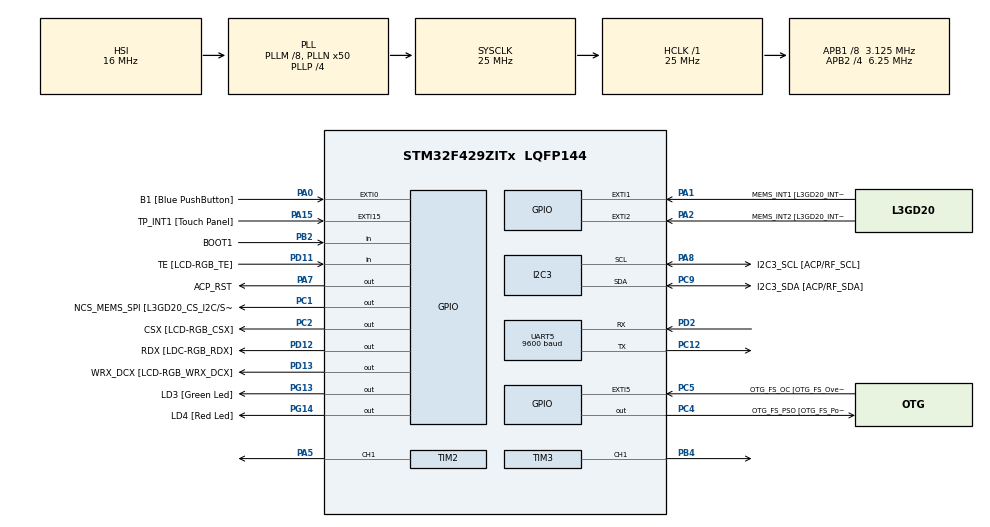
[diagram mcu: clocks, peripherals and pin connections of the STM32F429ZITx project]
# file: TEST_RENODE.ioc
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Mcu.Family=STM32F4
Mcu.Name=STM32F429ZITx
Mcu.Package=LQFP144
NVIC.PriorityGroup=NVIC_PRIORITYGROUP_0
NVIC.TIM6_DAC_IRQn=true\:0\:0\:false\:false\:true\:true
NVIC.UART5_IRQn=true\:0\:0\:false\:false\:true\:true
PA0/WKUP.GPIO_Label=B1 [Blue PushButton]
PA0/WKUP.GPIO_ModeDefaultEXTI=GPIO_MODE_EVT_RISING
PA0/WKUP.GPIO_PuPd=GPIO_NOPULL
PA0/WKUP.Signal=GPXTI0
PA1.GPIO_Label=MEMS_INT1 [L3GD20_INT1]
PA1.GPIO_ModeDefaultEXTI=GPIO_MODE_EVT_RISING
PA1.GPIO_PuPd=GPIO_NOPULL
PA1.Signal=GPXTI1
PA10.GPIO_Label=STLINK_TX [STM32F103CBT6_PA2]
PA10.Signal=USART1_RX
PA11.GPIO_Label=R4
PA11.GPIO_Mode=GPIO_MODE_AF_PP
PA11.GPIO_PuPd=GPIO_NOPULL
PA11.GPIO_Speed=GPIO_SPEED_FREQ_LOW
PA11.Signal=LTDC_R4
PA12.GPIO_Label=R5
PA12.GPIO_Mode=GPIO_MODE_AF_PP
PA12.GPIO_PuPd=GPIO_NOPULL
PA12.GPIO_Speed=GPIO_SPEED_FREQ_LOW
PA12.Signal=LTDC_R5
PA13.GPIO_Label=SWDIO
PA13.Signal=SYS_JTMS-SWDIO
PA14.GPIO_Label=SWCLK
PA14.Signal=SYS_JTCK-SWCLK
PA15.GPIO_Label=TP_INT1 [Touch Panel]
PA15.GPIO_ModeDefaultEXTI=GPIO_MODE_EVT_RISING
PA15.GPIO_PuPd=GPIO_NOPULL
PA15.Signal=GPXTI15
PA2.GPIO_Label=MEMS_INT2 [L3GD20_INT2]
PA2.GPIO_ModeDefaultEXTI=GPIO_MODE_EVT_RISING
PA2.GPIO_PuPd=GPIO_NOPULL
PA2.Signal=GPXTI2
PA3.GPIO_Label=B5
PA3.GPIO_Mode=GPIO_MODE_AF_PP
PA3.GPIO_PuPd=GPIO_NOPULL
PA3.GPIO_Speed=GPIO_SPEED_FREQ_LOW
PA3.Signal=LTDC_B5
PA4.GPIO_Label=VSYNC
PA4.GPIO_Mode=GPIO_MODE_AF_PP
PA4.GPIO_PuPd=GPIO_NOPULL
PA4.GPIO_Speed=GPIO_SPEED_FREQ_LOW
PA4.Signal=LTDC_VSYNC
PA5.Signal=S_TIM2_CH1_ETR
PA6.GPIO_Label=G2
PA6.GPIO_Mode=GPIO_MODE_AF_PP
PA6.GPIO_PuPd=GPIO_NOPULL
PA6.GPIO_Speed=GPIO_SPEED_FREQ_LOW
PA6.Signal=LTDC_G2
PA7.GPIO_Label=ACP_RST
PA7.GPIO_Mode=GPIO_MODE_OUTPUT_PP
PA7.GPIO_PuPd=GPIO_NOPULL
PA7.GPIO_Speed=GPIO_SPEED_FREQ_LOW
PA7.Signal=GPIO_Output
PA8.GPIO_Label=I2C3_SCL [ACP/RF_SCL]
PA8.GPIO_Mode=GPIO_MODE_AF_OD
PA8.GPIO_PuPd=GPIO_NOPULL
PA8.GPIO_Speed=GPIO_SPEED_FREQ_LOW
PA8.Mode=I2C
PA8.Signal=I2C3_SCL
PA9.GPIO_Label=STLINK_RX [STM32F103CBT6_PA3]
PA9.Signal=USART1_TX
PB0.GPIO_Label=R3
PB0.GPIO_Mode=GPIO_MODE_AF_PP
PB0.GPIO_PuPd=GPIO_NOPULL
PB0.GPIO_Speed=GPIO_SPEED_FREQ_LOW
PB0.Signal=LTDC_R3
PB1.GPIO_Label=R6
PB1.GPIO_Mode=GPIO_MODE_AF_PP
PB1.GPIO_PuPd=GPIO_NOPULL
PB1.GPIO_Speed=GPIO_SPEED_FREQ_LOW
PB1.Signal=LTDC_R6
PB10.GPIO_Label=G4
PB10.GPIO_Mode=GPIO_MODE_AF_PP
PB10.GPIO_PuPd=GPIO_NOPULL
PB10.GPIO_Speed=GPIO_SPEED_FREQ_LOW
PB10.Signal=LTDC_G4
PB11.GPIO_Label=G5
PB11.GPIO_Mode=GPIO_MODE_AF_PP
PB11.GPIO_PuPd=GPIO_NOPULL
PB11.GPIO_Speed=GPIO_SPEED_FREQ_LOW
PB11.Signal=LTDC_G5
PB12.GPIO_Label=OTG_HS_ID
PB12.GPIO_Mode=GPIO_MODE_AF_PP
PB12.GPIO_PuPd=GPIO_NOPULL
PB12.GPIO_Speed=GPIO_SPEED_FREQ_LOW
PB12.Signal=USB_OTG_HS_ID
PB13.GPIO_Label=VBUS_HS
PB13.GPIO_Mode=GPIO_MODE_INPUT
PB13.GPIO_PuPd=GPIO_NOPULL
PB13.Signal=USB_OTG_HS_VBUS
PB14.GPIO_Label=OTG_HS_DM
PB14.GPIO_Mode=GPIO_MODE_AF_PP
PB14.GPIO_PuPd=GPIO_NOPULL
PB14.GPIO_Speed=GPIO_SPEED_FREQ_LOW
PB14.Signal=USB_OTG_HS_DM
PB15.GPIO_Label=OTG_HS_DP
PB15.GPIO_Mode=GPIO_MODE_AF_PP
PB15.GPIO_PuPd=GPIO_NOPULL
PB15.GPIO_Speed=GPIO_SPEED_FREQ_LOW
PB15.Signal=USB_OTG_HS_DP
PB2/BOOT1.GPIO_Label=BOOT1
PB2/BOOT1.GPIO_Mode=GPIO_MODE_INPUT
PB2/BOOT1.GPIO_PuPd=GPIO_NOPULL
PB2/BOOT1.Signal=GPIO_Input
PB4.Signal=S_TIM3_CH1
PB5.GPIO_Label=SDCKE1
PB5.GPIO_Mode=GPIO_MODE_AF_PP
PB5.GPIO_PuPd=GPIO_NOPULL
PB5.GPIO_Speed=GPIO_SPEED_FREQ_VERY_HIGH
PB5.Signal=FMC_SDCKE1
PB6.GPIO_Label=SDNE1 [SDRAM_CS]
PB6.GPIO_Mode=GPIO_MODE_AF_PP
PB6.GPIO_PuPd=GPIO_NOPULL
PB6.GPIO_Speed=GPIO_SPEED_FREQ_VERY_HIGH
PB6.Signal=FMC_SDNE1
PB8.GPIO_Label=B6
PB8.GPIO_Mode=GPIO_MODE_AF_PP
PB8.GPIO_PuPd=GPIO_NOPULL
PB8.GPIO_Speed=GPIO_SPEED_FREQ_LOW
PB8.Signal=LTDC_B6
PB9.GPIO_Label=B7
PB9.GPIO_Mode=GPIO_MODE_AF_PP
PB9.GPIO_PuPd=GPIO_NOPULL
PB9.GPIO_Speed=GPIO_SPEED_FREQ_LOW
PB9.Signal=LTDC_B7
PC0.GPIO_Label=SDNWE
PC0.GPIO_Mode=GPIO_MODE_AF_PP
PC0.GPIO_PuPd=GPIO_NOPULL
PC0.GPIO_Speed=GPIO_SPEED_FREQ_VERY_HIGH
PC0.Signal=FMC_SDNWE
PC1.GPIO_Label=NCS_MEMS_SPI [L3GD20_CS_I2C/SPI]
PC1.GPIO_Mode=GPIO_MODE_OUTPUT_PP
PC1.GPIO_PuPd=GPIO_NOPULL
PC1.GPIO_Speed=GPIO_SPEED_FREQ_LOW
PC1.Signal=GPIO_Output
PC10.GPIO_Label=R2
PC10.GPIO_Mode=GPIO_MODE_AF_PP
PC10.GPIO_PuPd=GPIO_NOPULL
PC10.GPIO_Speed=GPIO_SPEED_FREQ_LOW
PC10.Signal=LTDC_R2
PC12.Mode=Asynchronous
PC12.Signal=UART5_TX
PC14/OSC32_IN.GPIO_Label=PC14-OSC32_IN
PC14/OSC32_IN.Signal=RCC_OSC32_IN
PC15/OSC32_OUT.GPIO_Label=PC15-OSC32_OUT
PC15/OSC32_OUT.Signal=RCC_OSC32_OUT
PC2.GPIO_Label=CSX [LCD-RGB_CSX]
PC2.GPIO_Mode=GPIO_MODE_OUTPUT_PP
PC2.GPIO_PuPd=GPIO_NOPULL
PC2.GPIO_Speed=GPIO_SPEED_FREQ_LOW
PC2.Signal=GPIO_Output
PC4.GPIO_Label=OTG_FS_PSO [OTG_FS_PowerSwitchOn]
PC4.GPIO_Mode=GPIO_MODE_OUTPUT_PP
PC4.GPIO_PuPd=GPIO_NOPULL
PC4.GPIO_Speed=GPIO_SPEED_FREQ_LOW
PC4.Signal=GPIO_Output
PC5.GPIO_Label=OTG_FS_OC [OTG_FS_OverCurrent]
PC5.GPIO_ModeDefaultEXTI=GPIO_MODE_EVT_RISING
PC5.Signal=GPXTI5
PC6.GPIO_Label=HSYNC
PC6.GPIO_Mode=GPIO_MODE_AF_PP
PC6.GPIO_PuPd=GPIO_NOPULL
PC6.GPIO_Speed=GPIO_SPEED_FREQ_LOW
PC6.Signal=LTDC_HSYNC
PC7.GPIO_Label=G6
PC7.GPIO_Mode=GPIO_MODE_AF_PP
PC7.GPIO_PuPd=GPIO_NOPULL
PC7.GPIO_Speed=GPIO_SPEED_FREQ_LOW
PC7.Signal=LTDC_G6
PC9.GPIO_Label=I2C3_SDA [ACP/RF_SDA]
PC9.GPIO_Mode=GPIO_MODE_AF_OD
PC9.GPIO_PuPd=GPIO_NOPULL
PC9.GPIO_Speed=GPIO_SPEED_FREQ_LOW
PC9.Mode=I2C
PC9.Signal=I2C3_SDA
PD0.GPIO_Label=D2
PD0.GPIO_Mode=GPIO_MODE_AF_PP
PD0.GPIO_PuPd=GPIO_NOPULL
PD0.GPIO_Speed=GPIO_SPEED_FREQ_VERY_HIGH
PD0.Signal=FMC_D2_DA2
PD1.GPIO_Label=D3
PD1.GPIO_Mode=GPIO_MODE_AF_PP
PD1.GPIO_PuPd=GPIO_NOPULL
PD1.GPIO_Speed=GPIO_SPEED_FREQ_VERY_HIGH
PD1.Signal=FMC_D3_DA3
PD10.GPIO_Label=D15
PD10.GPIO_Mode=GPIO_MODE_AF_PP
PD10.GPIO_PuPd=GPIO_NOPULL
PD10.GPIO_Speed=GPIO_SPEED_FREQ_VERY_HIGH
PD10.Signal=FMC_D15_DA15
PD11.GPIO_Label=TE [LCD-RGB_TE]
PD11.GPIO_Mode=GPIO_MODE_INPUT
PD11.GPIO_PuPd=GPIO_NOPULL
PD11.Signal=GPIO_Input
PD12.GPIO_Label=RDX [LDC-RGB_RDX]
PD12.GPIO_Mode=GPIO_MODE_OUTPUT_PP
PD12.GPIO_PuPd=GPIO_NOPULL
PD12.GPIO_Speed=GPIO_SPEED_FREQ_LOW
PD12.Signal=GPIO_Output
PD13.GPIO_Label=WRX_DCX [LCD-RGB_WRX_DCX]
PD13.GPIO_Mode=GPIO_MODE_OUTPUT_PP
PD13.GPIO_PuPd=GPIO_NOPULL
PD13.GPIO_Speed=GPIO_SPEED_FREQ_LOW
PD13.Signal=GPIO_Output
PD14.GPIO_Label=D0
PD14.GPIO_Mode=GPIO_MODE_AF_PP
PD14.GPIO_PuPd=GPIO_NOPULL
PD14.GPIO_Speed=GPIO_SPEED_FREQ_VERY_HIGH
PD14.Signal=FMC_D0_DA0
PD15.GPIO_Label=D1
PD15.GPIO_Mode=GPIO_MODE_AF_PP
PD15.GPIO_PuPd=GPIO_NOPULL
PD15.GPIO_Speed=GPIO_SPEED_FREQ_VERY_HIGH
PD15.Signal=FMC_D1_DA1
PD2.Mode=Asynchronous
PD2.Signal=UART5_RX
PD3.GPIO_Label=G7
PD3.GPIO_Mode=GPIO_MODE_AF_PP
PD3.GPIO_PuPd=GPIO_NOPULL
PD3.GPIO_Speed=GPIO_SPEED_FREQ_LOW
PD3.Signal=LTDC_G7
PD6.GPIO_Label=B2
PD6.GPIO_Mode=GPIO_MODE_AF_PP
PD6.GPIO_PuPd=GPIO_NOPULL
PD6.GPIO_Speed=GPIO_SPEED_FREQ_LOW
PD6.Signal=LTDC_B2
PD8.GPIO_Label=D13
PD8.GPIO_Mode=GPIO_MODE_AF_PP
PD8.GPIO_PuPd=GPIO_NOPULL
PD8.GPIO_Speed=GPIO_SPEED_FREQ_VERY_HIGH
PD8.Signal=FMC_D13_DA13
PD9.GPIO_Label=D14
PD9.GPIO_Mode=GPIO_MODE_AF_PP
PD9.GPIO_PuPd=GPIO_NOPULL
PD9.GPIO_Speed=GPIO_SPEED_FREQ_VERY_HIGH
PD9.Signal=FMC_D14_DA14
PE0.GPIO_Label=NBL0 [SDRAM_LDQM]
PE0.GPIO_Mode=GPIO_MODE_AF_PP
PE0.GPIO_PuPd=GPIO_NOPULL
PE0.GPIO_Speed=GPIO_SPEED_FREQ_VERY_HIGH
PE0.Signal=FMC_NBL0
PE1.GPIO_Label=NBL1 [SDRAM_UDQM]
PE1.GPIO_Mode=GPIO_MODE_AF_PP
PE1.GPIO_PuPd=GPIO_NOPULL
PE1.GPIO_Speed=GPIO_SPEED_FREQ_VERY_HIGH
PE1.Signal=FMC_NBL1
PE10.GPIO_Label=D7
PE10.GPIO_Mode=GPIO_MODE_AF_PP
PE10.GPIO_PuPd=GPIO_NOPULL
PE10.GPIO_Speed=GPIO_SPEED_FREQ_VERY_HIGH
PE10.Signal=FMC_D7_DA7
PE11.GPIO_Label=D8
PE11.GPIO_Mode=GPIO_MODE_AF_PP
PE11.GPIO_PuPd=GPIO_NOPULL
PE11.GPIO_Speed=GPIO_SPEED_FREQ_VERY_HIGH
PE11.Signal=FMC_D8_DA8
PE12.GPIO_Label=D9
PE12.GPIO_Mode=GPIO_MODE_AF_PP
PE12.GPIO_PuPd=GPIO_NOPULL
PE12.GPIO_Speed=GPIO_SPEED_FREQ_VERY_HIGH
PE12.Signal=FMC_D9_DA9
PE13.GPIO_Label=D10
PE13.GPIO_Mode=GPIO_MODE_AF_PP
PE13.GPIO_PuPd=GPIO_NOPULL
PE13.GPIO_Speed=GPIO_SPEED_FREQ_VERY_HIGH
PE13.Signal=FMC_D10_DA10
PE14.GPIO_Label=D11
PE14.GPIO_Mode=GPIO_MODE_AF_PP
PE14.GPIO_PuPd=GPIO_NOPULL
PE14.GPIO_Speed=GPIO_SPEED_FREQ_VERY_HIGH
PE14.Signal=FMC_D11_DA11
PE15.GPIO_Label=D12
PE15.GPIO_Mode=GPIO_MODE_AF_PP
PE15.GPIO_PuPd=GPIO_NOPULL
PE15.GPIO_Speed=GPIO_SPEED_FREQ_VERY_HIGH
PE15.Signal=FMC_D12_DA12
PE7.GPIO_Label=D4
PE7.GPIO_Mode=GPIO_MODE_AF_PP
PE7.GPIO_PuPd=GPIO_NOPULL
PE7.GPIO_Speed=GPIO_SPEED_FREQ_VERY_HIGH
PE7.Signal=FMC_D4_DA4
PE8.GPIO_Label=D5
PE8.GPIO_Mode=GPIO_MODE_AF_PP
PE8.GPIO_PuPd=GPIO_NOPULL
PE8.GPIO_Speed=GPIO_SPEED_FREQ_VERY_HIGH
PE8.Signal=FMC_D5_DA5
PE9.GPIO_Label=D6
PE9.GPIO_Mode=GPIO_MODE_AF_PP
PE9.GPIO_PuPd=GPIO_NOPULL
PE9.GPIO_Speed=GPIO_SPEED_FREQ_VERY_HIGH
PE9.Signal=FMC_D6_DA6
PF0.GPIO_Label=A0
PF0.GPIO_Mode=GPIO_MODE_AF_PP
PF0.GPIO_PuPd=GPIO_NOPULL
PF0.GPIO_Speed=GPIO_SPEED_FREQ_VERY_HIGH
PF0.Signal=FMC_A0
PF1.GPIO_Label=A1
PF1.GPIO_Mode=GPIO_MODE_AF_PP
PF1.GPIO_PuPd=GPIO_NOPULL
PF1.GPIO_Speed=GPIO_SPEED_FREQ_VERY_HIGH
PF1.Signal=FMC_A1
PF10.GPIO_Label=ENABLE [LCD-RGB_ENABLE]
PF10.GPIO_Mode=GPIO_MODE_AF_PP
PF10.GPIO_PuPd=GPIO_NOPULL
PF10.GPIO_Speed=GPIO_SPEED_FREQ_LOW
PF10.Signal=LTDC_DE
PF11.GPIO_Label=SDNRAS
PF11.GPIO_Mode=GPIO_MODE_AF_PP
PF11.GPIO_PuPd=GPIO_NOPULL
PF11.GPIO_Speed=GPIO_SPEED_FREQ_VERY_HIGH
PF11.Signal=FMC_SDNRAS
PF12.GPIO_Label=A6
PF12.GPIO_Mode=GPIO_MODE_AF_PP
PF12.GPIO_PuPd=GPIO_NOPULL
PF12.GPIO_Speed=GPIO_SPEED_FREQ_VERY_HIGH
PF12.Signal=FMC_A6
PF13.GPIO_Label=A7
PF13.GPIO_Mode=GPIO_MODE_AF_PP
PF13.GPIO_PuPd=GPIO_NOPULL
PF13.GPIO_Speed=GPIO_SPEED_FREQ_VERY_HIGH
PF13.Signal=FMC_A7
PF14.GPIO_Label=A8
PF14.GPIO_Mode=GPIO_MODE_AF_PP
PF14.GPIO_PuPd=GPIO_NOPULL
PF14.GPIO_Speed=GPIO_SPEED_FREQ_VERY_HIGH
PF14.Signal=FMC_A8
PF15.GPIO_Label=A9
PF15.GPIO_Mode=GPIO_MODE_AF_PP
PF15.GPIO_PuPd=GPIO_NOPULL
PF15.GPIO_Speed=GPIO_SPEED_FREQ_VERY_HIGH
PF15.Signal=FMC_A9
PF2.GPIO_Label=A2
PF2.GPIO_Mode=GPIO_MODE_AF_PP
PF2.GPIO_PuPd=GPIO_NOPULL
PF2.GPIO_Speed=GPIO_SPEED_FREQ_VERY_HIGH
PF2.Signal=FMC_A2
PF3.GPIO_Label=A3
PF3.GPIO_Mode=GPIO_MODE_AF_PP
PF3.GPIO_PuPd=GPIO_NOPULL
PF3.GPIO_Speed=GPIO_SPEED_FREQ_VERY_HIGH
PF3.Signal=FMC_A3
PF4.GPIO_Label=A4
PF4.GPIO_Mode=GPIO_MODE_AF_PP
PF4.GPIO_PuPd=GPIO_NOPULL
PF4.GPIO_Speed=GPIO_SPEED_FREQ_VERY_HIGH
PF4.Signal=FMC_A4
PF5.GPIO_Label=A5
PF5.GPIO_Mode=GPIO_MODE_AF_PP
PF5.GPIO_PuPd=GPIO_NOPULL
PF5.GPIO_Speed=GPIO_SPEED_FREQ_VERY_HIGH
PF5.Signal=FMC_A5
PF7.GPIO_Label=SPI5_SCK [L3GD20_SCL/SPC]
PF7.GPIO_Mode=GPIO_MODE_AF_PP
PF7.GPIO_PuPd=GPIO_NOPULL
PF7.GPIO_Speed=GPIO_SPEED_FREQ_LOW
PF7.Signal=SPI5_SCK
PF8.GPIO_Label=SPI5_MISO [L3GD20_SDO]
PF8.GPIO_Mode=GPIO_MODE_AF_PP
PF8.GPIO_PuPd=GPIO_NOPULL
PF8.GPIO_Speed=GPIO_SPEED_FREQ_LOW
PF8.Signal=SPI5_MISO
PF9.GPIO_Label=SPI5_MOSI [L3GD20_SDA/SDI/SDO]
PF9.GPIO_Mode=GPIO_MODE_AF_PP
PF9.GPIO_PuPd=GPIO_NOPULL
PF9.GPIO_Speed=GPIO_SPEED_FREQ_LOW
PF9.Signal=SPI5_MOSI
PG0.GPIO_Label=A10
PG0.GPIO_Mode=GPIO_MODE_AF_PP
PG0.GPIO_PuPd=GPIO_NOPULL
PG0.GPIO_Speed=GPIO_SPEED_FREQ_VERY_HIGH
PG0.Signal=FMC_A10
PG1.GPIO_Label=A11
PG1.GPIO_Mode=GPIO_MODE_AF_PP
PG1.GPIO_PuPd=GPIO_NOPULL
PG1.GPIO_Speed=GPIO_SPEED_FREQ_VERY_HIGH
PG1.Signal=FMC_A11
PG10.GPIO_Label=G3
PG10.GPIO_Mode=GPIO_MODE_AF_PP
PG10.GPIO_PuPd=GPIO_NOPULL
PG10.GPIO_Speed=GPIO_SPEED_FREQ_LOW
PG10.Signal=LTDC_G3
PG11.GPIO_Label=B3
PG11.GPIO_Mode=GPIO_MODE_AF_PP
PG11.GPIO_PuPd=GPIO_NOPULL
PG11.GPIO_Speed=GPIO_SPEED_FREQ_LOW
PG11.Signal=LTDC_B3
PG12.GPIO_Label=B4
PG12.GPIO_Mode=GPIO_MODE_AF_PP
PG12.GPIO_PuPd=GPIO_NOPULL
PG12.GPIO_Speed=GPIO_SPEED_FREQ_LOW
PG12.Signal=LTDC_B4
PG13.GPIO_Label=LD3 [Green Led]
PG13.GPIO_Mode=GPIO_MODE_OUTPUT_PP
PG13.GPIO_PuPd=GPIO_NOPULL
PG13.GPIO_Speed=GPIO_SPEED_FREQ_LOW
PG13.Signal=GPIO_Output
PG14.GPIO_Label=LD4 [Red Led]
PG14.GPIO_Mode=GPIO_MODE_OUTPUT_PP
PG14.GPIO_PuPd=GPIO_NOPULL
PG14.GPIO_Speed=GPIO_SPEED_FREQ_LOW
PG14.Signal=GPIO_Output
PG15.GPIO_Label=SDNCAS
PG15.GPIO_Mode=GPIO_MODE_AF_PP
PG15.GPIO_PuPd=GPIO_NOPULL
PG15.GPIO_Speed=GPIO_SPEED_FREQ_VERY_HIGH
PG15.Signal=FMC_SDNCAS
PG4.GPIO_Label=BA0
PG4.GPIO_Mode=GPIO_MODE_AF_PP
PG4.GPIO_PuPd=GPIO_NOPULL
PG4.GPIO_Speed=GPIO_SPEED_FREQ_VERY_HIGH
PG4.Signal=FMC_A14_BA0
PG5.GPIO_Label=BA1
PG5.GPIO_Mode=GPIO_MODE_AF_PP
PG5.GPIO_PuPd=GPIO_NOPULL
PG5.GPIO_Speed=GPIO_SPEED_FREQ_VERY_HIGH
PG5.Signal=FMC_A15_BA1
PG6.GPIO_Label=R7
PG6.GPIO_Mode=GPIO_MODE_AF_PP
PG6.GPIO_PuPd=GPIO_NOPULL
PG6.GPIO_Speed=GPIO_SPEED_FREQ_LOW
PG6.Signal=LTDC_R7
PG7.GPIO_Label=DOTCLK [LCT-RGB_DOTCLK]
PG7.GPIO_Mode=GPIO_MODE_AF_PP
PG7.GPIO_PuPd=GPIO_NOPULL
PG7.GPIO_Speed=GPIO_SPEED_FREQ_LOW
PG7.Signal=LTDC_CLK
PG8.GPIO_Label=SDCLK
PG8.GPIO_Mode=GPIO_MODE_AF_PP
PG8.GPIO_PuPd=GPIO_NOPULL
PG8.GPIO_Speed=GPIO_SPEED_FREQ_VERY_HIGH
PG8.Signal=FMC_SDCLK
PH0/OSC_IN.GPIO_Label=PH0-OSC_IN
PH0/OSC_IN.Signal=RCC_OSC_IN
PH1/OSC_OUT.GPIO_Label=PH1-OSC_OUT
PH1/OSC_OUT.Signal=RCC_OSC_OUT
ProjectManager.HeapSize=0x200
ProjectManager.StackSize=0x400
ProjectManager.TargetToolchain=MDK-ARM V5
RCC.48MHZClocksFreq_Value=14285714.285714285
RCC.AHBFreq_Value=25000000
RCC.APB1CLKDivider=RCC_HCLK_DIV8
RCC.APB1Freq_Value=3125000
RCC.APB1TimFreq_Value=6250000
RCC.APB2CLKDivider=RCC_HCLK_DIV4
RCC.APB2Freq_Value=6250000
RCC.APB2TimFreq_Value=12500000
RCC.CortexFreq_Value=25000000
RCC.HCLKFreq_Value=25000000
RCC.HSE_VALUE=8000000
RCC.HSI_VALUE=16000000
RCC.LSE_VALUE=32768
RCC.PLLM=8
RCC.PLLN=50
RCC.PLLP=RCC_PLLP_DIV4
RCC.PLLQ=7
RCC.SYSCLKFreq_VALUE=25000000
RCC.SYSCLKSource=RCC_SYSCLKSOURCE_PLLCLK
RCC.VCOOutputFreq_Value=100000000
SH.FMC_A0.0=FMC_A0
SH.FMC_A1.0=FMC_A1
SH.FMC_A10.0=FMC_A10
SH.FMC_A11.0=FMC_A11
SH.FMC_A14_BA0.0=FMC_BA0
SH.FMC_A15_BA1.0=FMC_BA1
SH.FMC_A2.0=FMC_A2
SH.FMC_A3.0=FMC_A3
SH.FMC_A4.0=FMC_A4
SH.FMC_A5.0=FMC_A5
SH.FMC_A6.0=FMC_A6
SH.FMC_A7.0=FMC_A7
SH.FMC_A8.0=FMC_A8
SH.FMC_A9.0=FMC_A9
SH.FMC_D0_DA0.0=FMC_D0
SH.FMC_D10_DA10.0=FMC_D10
SH.FMC_D11_DA11.0=FMC_D11
SH.FMC_D12_DA12.0=FMC_D12
SH.FMC_D13_DA13.0=FMC_D13
SH.FMC_D14_DA14.0=FMC_D14
SH.FMC_D15_DA15.0=FMC_D15
SH.FMC_D1_DA1.0=FMC_D1
SH.FMC_D2_DA2.0=FMC_D2
SH.FMC_D3_DA3.0=FMC_D3
SH.FMC_D4_DA4.0=FMC_D4
SH.FMC_D5_DA5.0=FMC_D5
SH.FMC_D6_DA6.0=FMC_D6
SH.FMC_D7_DA7.0=FMC_D7
SH.FMC_D8_DA8.0=FMC_D8
SH.FMC_D9_DA9.0=FMC_D9
SH.FMC_NBL0.0=FMC_NBL0
SH.FMC_NBL1.0=FMC_NBL1
SH.FMC_SDCLK.0=FMC_SDCLK
SH.FMC_SDNCAS.0=FMC_SDNCAS
SH.FMC_SDNRAS.0=FMC_SDNRAS
SH.FMC_SDNWE.0=FMC_SDNWE
SH.S_TIM2_CH1_ETR.0=TIM2_CH1,PWM Generation1 CH1
SH.S_TIM3_CH1.0=TIM3_CH1,PWM Generation1 CH1
TIM2.Channel-PWM\ Generation1\ CH1=TIM_CHANNEL_1
TIM3.Channel-PWM\ Generation1\ CH1=TIM_CHANNEL_1
TIM6.Period=250
TIM6.Prescaler=12500
UART5.BaudRate=9600
UART5.VirtualMode=Asynchronous
VP_TIM2_VS_ClockSourceITR.Mode=TriggerSource_ITR0
VP_TIM2_VS_ControllerModeClock.Mode=Clock Mode
VP_TIM3_VS_ClockSourceITR.Mode=TriggerSource_ITR0
VP_TIM3_VS_ControllerModeClock.Mode=Clock Mode
VP_TIM6_VS_ClockSourceINT.Mode=Enable_Timer
board=32F429IDISCOVERY

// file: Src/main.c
/**
  ******************************************************************************
  * @file           : main.c
  * @brief          : Main program body
  ******************************************************************************
  ** This notice applies to any and all portions of this file
  * that are not between comment pairs USER CODE BEGIN and
  * USER CODE END. Other portions of this file, whether
  * inserted by the user or by software development tools
  * are owned by their respective copyright owners.
  *
  * COPYRIGHT(c) 2021 STMicroelectronics
  *
  * Redistribution and use in source and binary forms, with or without modification,
  * are permitted provided that the following conditions are met:
  *   1. Redistributions of source code must retain the above copyright notice,
  *      this list of conditions and the following disclaimer.
  *   2. Redistributions in binary form must reproduce the above copyright notice,
  *      this list of conditions and the following disclaimer in the documentation
  *      and/or other materials provided with the distribution.
  *   3. Neither the name of STMicroelectronics nor the names of its contributors
  *      may be used to endorse or promote products derived from this software
  *      without specific prior written permission.
  *
  * THIS SOFTWARE IS PROVIDED BY THE COPYRIGHT HOLDERS AND CONTRIBUTORS "AS IS"
  * AND ANY EXPRESS OR IMPLIED WARRANTIES, INCLUDING, BUT NOT LIMITED TO, THE
  * IMPLIED WARRANTIES OF MERCHANTABILITY AND FITNESS FOR A PARTICULAR PURPOSE ARE
  * DISCLAIMED. IN NO EVENT SHALL THE COPYRIGHT HOLDER OR CONTRIBUTORS BE LIABLE
  * FOR ANY DIRECT, INDIRECT, INCIDENTAL, SPECIAL, EXEMPLARY, OR CONSEQUENTIAL
  * DAMAGES (INCLUDING, BUT NOT LIMITED TO, PROCUREMENT OF SUBSTITUTE GOODS OR
  * SERVICES; LOSS OF USE, DATA, OR PROFITS; OR BUSINESS INTERRUPTION) HOWEVER
  * CAUSED AND ON ANY THEORY OF LIABILITY, WHETHER IN CONTRACT, STRICT LIABILITY,
  * OR TORT (INCLUDING NEGLIGENCE OR OTHERWISE) ARISING IN ANY WAY OUT OF THE USE
  * OF THIS SOFTWARE, EVEN IF ADVISED OF THE POSSIBILITY OF SUCH DAMAGE.
  *
  ******************************************************************************
  */
#include "main.h"
#include "stm32f4xx_hal.h"
#include "i2c.h"
#include "tim.h"
#include "usart.h"
#include "gpio.h"

/* USER CODE BEGIN Includes */
#include "arm_math.h"	/* PID */
#include "bmp180.h"
/* USER CODE END Includes */

/* USER CODE BEGIN PV */
/* Private variables ---------------------------------------------------------*/
uint8_t screen = 0;
uint8_t uartRx;
float temperature;
extern uint16_t PVT;
extern uint8_t fan_speed;
float duty = 0;
#define PID_PARAM_KP        100            /* Proporcional */
#define PID_PARAM_KI        0.025          /* Integral */
#define PID_PARAM_KD        20             /* Derivative */
bmp_t bmp_measure;
/* USER CODE END PV */

void SystemClock_Config(void);

/* USER CODE BEGIN PFP */
/* Private function prototypes -----------------------------------------------*/

/* USER CODE END PFP */

/* USER CODE BEGIN 0 */

/* Inizializzazione del PID controller */
void arm_pid_init_f32(
  arm_pid_instance_f32 * S,
  int32_t resetStateFlag)
{

  /* Derived coefficient A0 */
  S->A0 = S->Kp + S->Ki + S->Kd;

  /* Derived coefficient A1 */
  S->A1 = (-S->Kp) - ((float32_t) 2.0 * S->Kd);

  /* Derived coefficient A2 */
  S->A2 = S->Kd;

  /* Check whether state needs reset or not */
  if(resetStateFlag)
  {
    /* Clear the state buffer.  The size will be always 3 samples */
    memset(S->state, 0, 3u * sizeof(float32_t));
  }

}
/* USER CODE END 0 */

int main(void)
{

  /* MCU Configuration----------------------------------------------------------*/

  /* Reset of all peripherals, Initializes the Flash interface and the Systick. */
  HAL_Init();

  /* Configure the system clock */
  SystemClock_Config();

  /* Initialize all configured peripherals */
  MX_GPIO_Init();
  MX_UART5_Init();
  MX_I2C3_Init();
  MX_TIM2_Init();
  MX_TIM3_Init();
  MX_TIM6_Init();
  /* USER CODE BEGIN 2 */
	bmp_init (&bmp_measure);
	HAL_TIM_PWM_Init(&htim2);
	HAL_TIM_PWM_Init(&htim3);
	HAL_UART_Transmit(&huart5, (uint8_t*)"Welcome Programmable Industrial Oven\r\n", 38, HAL_MAX_DELAY);
	//HAL_UART_Transmit(&huart5, (uint8_t*)"Avaible operations: (1)Show Current Temperature and Fan status(2)Insert target temperature(3)Set fan speed (4)Insert temperature for a given time\r\n", 160, HAL_MAX_DELAY);
	HAL_UART_Transmit(&huart5, (uint8_t*)"Avaible operations:\r\n", strlen("Avaible operations:\r\n"), HAL_MAX_DELAY);
	HAL_UART_Transmit(&huart5, (uint8_t*)"(1)Show Current Temperature and Fan status\r\n", strlen("(1)Show Current Temperature and Fan status\r\n"), HAL_MAX_DELAY);
	HAL_UART_Transmit(&huart5, (uint8_t*)"(2)Insert target temperature\r\n", strlen("(2)Insert target temperature\r\n"), HAL_MAX_DELAY);
	HAL_UART_Transmit(&huart5, (uint8_t*)"(3)Set fan speed\r\n", strlen("(3)Set fan speed\r\n"), HAL_MAX_DELAY);
	HAL_UART_Transmit(&huart5, (uint8_t*)"(4)Insert temperature for a given time\r\n", strlen("(4)Insert temperature for a given time\r\n"), HAL_MAX_DELAY);
	HAL_UART_Transmit(&huart5, (uint8_t*)"(5)Show status of PVT and Timer\r\n", strlen("(5)Show status of PVT and Timer\r\n"), HAL_MAX_DELAY);
	HAL_TIM_Base_Start_IT(&htim6);
	HAL_UART_Receive_IT(&huart5, &uartRx, sizeof(uartRx));
	/* PID */
	float pid_error;
	arm_pid_instance_f32 PID;

	PID.Kp = PID_PARAM_KD;
	PID.Ki = PID_PARAM_KI;
	PID.Kd = PID_PARAM_KD;

	arm_pid_init_f32(&PID, 1);
	float tmp_sensor[4];

  /*Start PWMs*/
	TIM_OC_InitTypeDef sConfigOCPV;
	sConfigOCPV.OCMode = TIM_OCMODE_PWM1;
	sConfigOCPV.OCPolarity = TIM_OCPOLARITY_HIGH;
	sConfigOCPV.OCFastMode = TIM_OCFAST_DISABLE;

	TIM_OC_InitTypeDef sConfigOCFAN;
	sConfigOCFAN.OCMode = TIM_OCMODE_PWM1;
	sConfigOCFAN.OCPolarity = TIM_OCPOLARITY_HIGH;
	sConfigOCFAN.OCFastMode = TIM_OCFAST_DISABLE;

	//Start timers.
	HAL_TIM_PWM_Stop(&htim2, TIM_CHANNEL_1);
	HAL_TIM_PWM_Stop(&htim3, TIM_CHANNEL_1);
  /* USER CODE END 2 */

  /* Infinite loop */
  /* USER CODE BEGIN WHILE */
  while (1)
  {
		//Read data from sensors.
		tmp_sensor[0] = get_temp(&bmp_measure, BMP_ADDR_SENSOR_A);
		HAL_Delay(25);
		tmp_sensor[1] = get_temp(&bmp_measure, BMP_ADDR_SENSOR_B);
		HAL_Delay(25);
		tmp_sensor[2] = get_temp(&bmp_measure, BMP_ADDR_SENSOR_C);
		HAL_Delay(25);
		tmp_sensor[3] = get_temp(&bmp_measure, BMP_ADDR_SENSOR_D);
		//Average the data.
		temperature = (tmp_sensor[0] + tmp_sensor[1] + tmp_sensor[2] + tmp_sensor[3])/4;

		//PID routine.
		pid_error = temperature - (float)PVT;

		duty = 100 - (arm_pid_f32(&PID, pid_error));
		if (duty > 100) {
				duty = 100;
		} else if (duty < 0) {
				duty = 0;
		}
		//Set structure for HAL PWM. Duty cycle for PVT.
		sConfigOCPV.Pulse = duty;
		if (HAL_TIM_PWM_ConfigChannel(&htim2, &sConfigOCPV, TIM_CHANNEL_1) != HAL_OK)
		{
			_Error_Handler(__FILE__, __LINE__);
		}
		//Set structure for HAL PWM. Duty cycle for Fan Speed.
		sConfigOCFAN.Pulse = fan_speed;
		if (HAL_TIM_PWM_ConfigChannel(&htim3, &sConfigOCFAN, TIM_CHANNEL_1) != HAL_OK)
		{
			_Error_Handler(__FILE__, __LINE__);
		}

  /* USER CODE END WHILE */

  }

}

void SystemClock_Config(void)
{

  RCC_OscInitTypeDef RCC_OscInitStruct;
  RCC_ClkInitTypeDef RCC_ClkInitStruct;

    /**Configure the main internal regulator output voltage
    */
  __HAL_RCC_PWR_CLK_ENABLE();

  __HAL_PWR_VOLTAGESCALING_CONFIG(PWR_REGULATOR_VOLTAGE_SCALE3);

    /**Initializes the CPU, AHB and APB busses clocks
    */
  RCC_OscInitStruct.OscillatorType = RCC_OSCILLATORTYPE_HSI;
  RCC_OscInitStruct.HSIState = RCC_HSI_ON;
  RCC_OscInitStruct.HSICalibrationValue = 16;
  RCC_OscInitStruct.PLL.PLLState = RCC_PLL_ON;
  RCC_OscInitStruct.PLL.PLLSource = RCC_PLLSOURCE_HSI;
  RCC_OscInitStruct.PLL.PLLM = 8;
  RCC_OscInitStruct.PLL.PLLN = 50;
  RCC_OscInitStruct.PLL.PLLP = RCC_PLLP_DIV4;
  RCC_OscInitStruct.PLL.PLLQ = 7;
  if (HAL_RCC_OscConfig(&RCC_OscInitStruct) != HAL_OK)
  {
    _Error_Handler(__FILE__, __LINE__);
  }

    /**Initializes the CPU, AHB and APB busses clocks
    */
  RCC_ClkInitStruct.ClockType = RCC_CLOCKTYPE_HCLK|RCC_CLOCKTYPE_SYSCLK
                              |RCC_CLOCKTYPE_PCLK1|RCC_CLOCKTYPE_PCLK2;
  RCC_ClkInitStruct.SYSCLKSource = RCC_SYSCLKSOURCE_PLLCLK;
  RCC_ClkInitStruct.AHBCLKDivider = RCC_SYSCLK_DIV1;
  RCC_ClkInitStruct.APB1CLKDivider = RCC_HCLK_DIV8;
  RCC_ClkInitStruct.APB2CLKDivider = RCC_HCLK_DIV4;

  if (HAL_RCC_ClockConfig(&RCC_ClkInitStruct, FLASH_LATENCY_0) != HAL_OK)
  {
    _Error_Handler(__FILE__, __LINE__);
  }

    /**Configure the Systick interrupt time
    */
  HAL_SYSTICK_Config(HAL_RCC_GetHCLKFreq()/1000);

    /**Configure the Systick
    */
  HAL_SYSTICK_CLKSourceConfig(SYSTICK_CLKSOURCE_HCLK);

  /* SysTick_IRQn interrupt configuration */
  HAL_NVIC_SetPriority(SysTick_IRQn, 0, 0);
}

void _Error_Handler(char *file, int line)
{
  /* USER CODE BEGIN Error_Handler_Debug */
	char screen_message[40];
	sprintf(screen_message, "An error occour, the application is alted.\r\n");
	HAL_UART_Transmit(&huart5, (uint8_t*)screen_message, sizeof(screen_message), HAL_MAX_DELAY);
	HAL_UART_Transmit(&huart5, (uint8_t*)file, sizeof(file), HAL_MAX_DELAY);
	//If error occour stop all timers.
	HAL_TIM_Base_Stop_IT(&htim6);
	HAL_TIM_PWM_Stop(&htim2, TIM_CHANNEL_1);
	HAL_TIM_PWM_Stop(&htim3, TIM_CHANNEL_1);
  /* User can add his own implementation to report the HAL error return state */
  while(1)
  {
  }
  /* USER CODE END Error_Handler_Debug */
}

/************************ (C) COPYRIGHT STMicroelectronics *****END OF FILE****/
